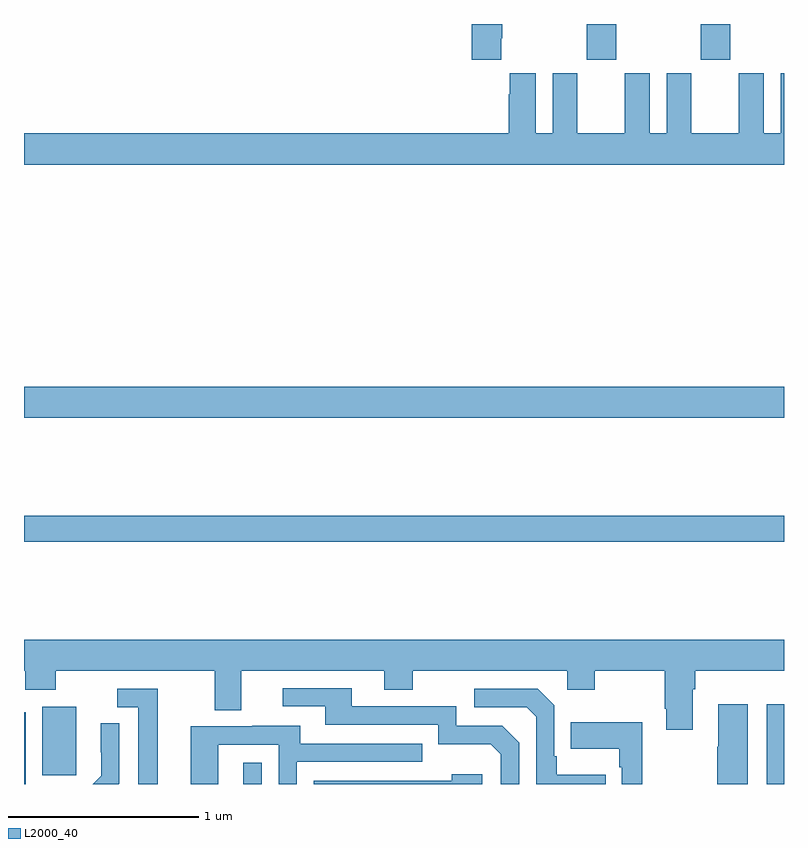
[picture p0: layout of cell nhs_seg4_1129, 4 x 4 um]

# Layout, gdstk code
import gdstk
lib = gdstk.Library(unit=1e-6, precision=1e-09)
def R(c, l, rs):  # rectangles x0, y0, x1, y1
    for r in rs: c.add(gdstk.rectangle(r[:2], r[2:], *l))
def P(c, l, *ps):  # polygons
    for p in ps: c.add(gdstk.Polygon(p, *l))
L2000_40 = (2000, 40)

nhs_seg4_1129 = lib.new_cell('nhs_seg4_1129')
R(nhs_seg4_1129, L2000_40, [(169,786.9,169.008,787.278), (170.153,786.9,170.25,787.012), (172.91,786.9,173,787.321), (169.097,786.945,169.276,787.306), (169,788.176,173,788.312), (169,788.828,173,788.992), (171.961,790.713,172.116,790.9), (172.561,790.713,172.716,790.9)])
P(nhs_seg4_1129, L2000_40, [(171.356,790.713),(171.511,790.713),(171.511,790.825),(171.516,790.825),(171.516,790.9),(171.356,790.9)],
  [(173,790.642),(172.982,790.642),(172.982,790.324),(172.894,790.324),(172.894,790.642),(172.763,790.642),(172.763,790.324),(172.513,790.324),(172.513,790.642),(172.382,790.642),(172.382,790.324),(172.294,790.324),(172.294,790.642),(172.163,790.642),(172.163,790.324),(171.913,790.324),(171.913,790.642),(171.782,790.642),(171.782,790.324),(171.694,790.324),(171.694,790.642),(171.557,790.642),(171.557,790.529),(171.551,790.529),(171.551,790.324),(169,790.324),(169,790.16),(173,790.16)],
  [(172.519,787.4),(172.532,787.4),(172.532,787.496),(173,787.496),(173,787.66),(169,787.66),(169,787.496),(169.007,787.496),(169.007,787.397),(169.167,787.397),(169.167,787.496),(170.003,787.496),(170.003,787.288),(170.143,787.288),(170.143,787.496),(170.897,787.496),(170.897,787.397),(171.045,787.397),(171.045,787.496),(171.858,787.496),(171.858,787.397),(172.005,787.397),(172.005,787.496),(172.372,787.496),(172.372,787.297),(172.379,787.297),(172.379,787.185),(172.519,787.185)],
  [(171.606,787.116),(171.516,787.206),(171.276,787.206),(171.276,787.308),(170.725,787.308),(170.725,787.404),(170.361,787.404),(170.361,787.308),(170.585,787.308),(170.585,787.212),(171.18,787.212),(171.18,787.109),(171.457,787.109),(171.51,787.056),(171.51,786.9),(171.606,786.9)],
  [(169.705,787.401),(169.491,787.401),(169.491,787.305),(169.601,787.305),(169.601,786.9),(169.705,786.9)],
  [(172.061,786.949),(171.805,786.949),(171.805,787.045),(171.792,787.045),(171.792,787.314),(171.705,787.401),(171.369,787.401),(171.369,787.305),(171.645,787.305),(171.696,787.254),(171.696,786.9),(172.061,786.9)],
  [(172.81,787.321),(172.655,787.321),(172.655,787.097),(172.648,787.097),(172.648,786.9),(172.81,786.9)],
  [(172.255,787.225),(171.877,787.225),(171.877,787.085),(172.134,787.085),(172.134,786.989),(172.146,786.989),(172.146,786.9),(172.255,786.9)],
  [(169.5,786.902),(169.5,787.22),(169.404,787.22),(169.404,787.066),(169.406,787.066),(169.406,786.944),(169.362,786.9),(169.498,786.9)],
  [(170.022,787.107),(170.34,787.107),(170.34,786.9),(170.436,786.9),(170.436,787.017),(171.095,787.017),(171.095,787.113),(170.455,787.113),(170.455,787.207),(170.201,787.207),(170.201,787.203),(169.877,787.203),(169.877,786.9),(170.022,786.9)],
  [(171.412,786.952),(171.251,786.952),(171.251,786.918),(170.526,786.918),(170.526,786.9),(171.412,786.9)])

lib.write_gds('nhs_seg4_1129.gds')
